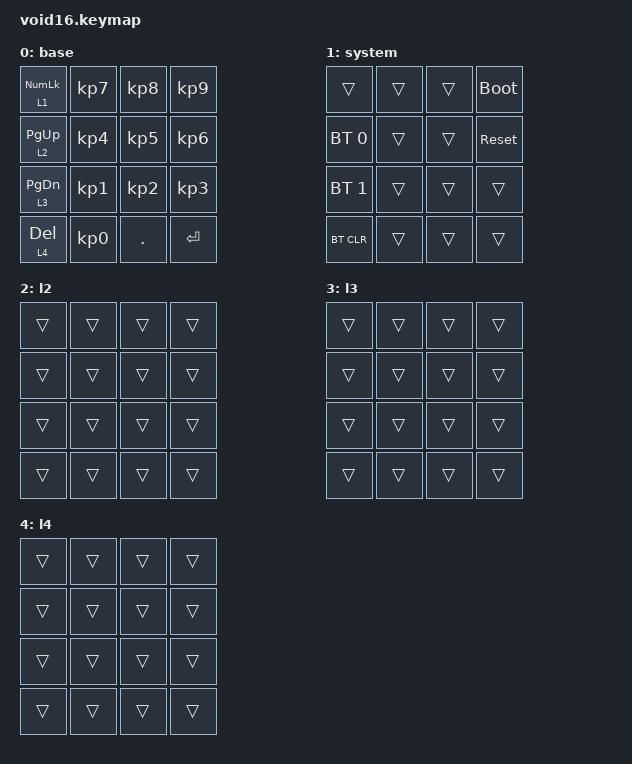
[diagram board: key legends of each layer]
//                                                      ▀▀▀█
//               ▄▄▄▄      ▄▄▄      ▄▄▄▄▄      ▄▄▄▄▄       █
//               █        █▄▄▄█    █    █     █    █       █
//            ▄▄▄█▄▄▄     ▀▄▄▄     ▀▄▄▄▄█     ▀▄▄▄▀█    ▄▄▄█▄▄▄
//                                  ▄▄▄▄▀  

#include <behaviors.dtsi>
#include <dt-bindings/zmk/bt.h>
#include <dt-bindings/zmk/keys.h>

//#include <dt-bindings/zmk/mouse.h>

#define KRITA1  0
#define KRITA2  1
#define HEAVY1  2
#define HEAVY2  3

/ {
    macros {
        k_save: k_save {
            label = "KRITA_Save";
            compatible = "zmk,behavior-macro";
            #binding-cells = <0>;
            bindings = <&macro_tap>, <&kp LC(S)>;
        };

        win_screen_area: win_screen_area {
            compatible = "zmk,behavior-macro";
            #binding-cells = <0>;
            bindings = <&kp LG(LS(S))>;
            label = "WIN_SCREEN_AREA";
        };

        premiere_remove_next_gap: premiere_remove_next_gap {
            compatible = "zmk,behavior-macro";
            #binding-cells = <0>;
            bindings = <&kp LS(SEMICOLON) &kp X &kp LS(DEL)>;
            label = "PREMIERE_REMOVE_NEXT_GAP";
        };

        premiere_redo: premiere_pro_redo {
            compatible = "zmk,behavior-macro";
            #binding-cells = <0>;
            bindings = <&kp LC(LS(Y))>;
            label = "PREMIERE_PRO_REDO";
        };

        premiere_undo: premiere_pro_undo {
            compatible = "zmk,behavior-macro";
            #binding-cells = <0>;
            bindings = <&kp LC(Z)>;
            label = "PREMIERE_PRO_UNDO";
        };
    };

    // ───────────────────────────────────────────────────────────────────────────

    combos {
        compatible = "zmk,combos";

        bootloader {
            bindings = <&bootloader>;
            key-positions = <4 7 13 14>;
        };

        reset {
            bindings = <&sys_reset>;
            key-positions = <8 11 1 2>;
        };
    };

    behaviors {
        layer_or_undo: layer_or_undo {
            compatible = "zmk,behavior-hold-tap";
            label = "LAYER_OR_UNDO";
            bindings = <&mo>, <&premiere_undo>;

            #binding-cells = <2>;
            tapping-term-ms = <200>;
        };

        layer_or_redo: layer_or_redo {
            compatible = "zmk,behavior-hold-tap";
            label = "LAYER_OR_REDO";
            bindings = <&mo>, <&premiere_redo>;

            #binding-cells = <2>;
            tapping-term-ms = <200>;
        };
    };

    keymap {
        compatible = "zmk,keymap";

        // ───────────────────────────────────────────────────────────────────────────
        // ───────────────────────────────────────────────────────────────────────────
        // ───────────────────────────────────────────────────────────────────────────

        base {
            bindings = <
&lt 1 KP_NUMLOCK  &kp KP_NUMBER_7  &kp KP_NUMBER_8  &kp KP_NUMBER_9
&lt 2 PG_UP       &kp KP_NUMBER_4  &kp KP_NUMBER_5  &kp KP_NUMBER_6
&lt 3 PAGE_DOWN   &kp KP_NUMBER_1  &kp KP_NUMBER_2  &kp KP_NUMBER_3
&lt 4 DELETE      &kp KP_NUMBER_0  &kp PERIOD       &kp ENTER
            >;
        };

        system {
            bindings = <
&trans        &trans  &trans  &bootloader
&bt BT_SEL 0  &trans  &trans  &sys_reset
&bt BT_SEL 1  &trans  &trans  &trans
&bt BT_CLR    &trans  &trans  &trans
            >;
        };

        l2 {
            bindings = <
&trans  &trans  &trans  &trans
&trans  &trans  &trans  &trans
&trans  &trans  &trans  &trans
&trans  &trans  &trans  &trans
            >;
        };

        l3 {
            bindings = <
&trans  &trans  &trans  &trans
&trans  &trans  &trans  &trans
&trans  &trans  &trans  &trans
&trans  &trans  &trans  &trans
            >;
        };

        l4 {
            bindings = <
&trans  &trans  &trans  &trans
&trans  &trans  &trans  &trans
&trans  &trans  &trans  &trans
&trans  &trans  &trans  &trans
            >;
        };
    };
};
